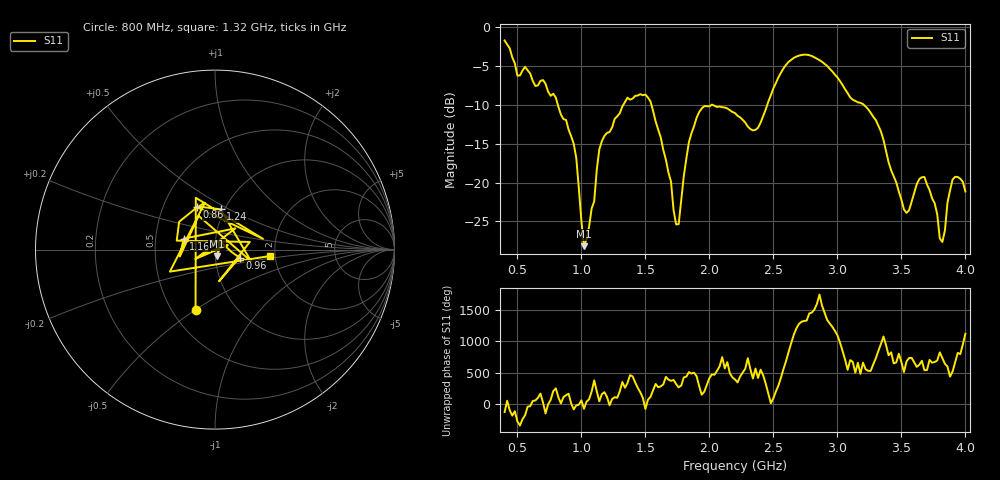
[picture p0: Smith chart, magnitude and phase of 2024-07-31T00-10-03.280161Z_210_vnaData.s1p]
!Created with skrf (http://scikit-rf.org).
# Hz S RI R 50.0
!freq ReS11 ImS11
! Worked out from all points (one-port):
!   181 points, 400 MHz to 4 GHz, reference 50 ohm
!   lowest |S11| = -28.2 dB at 1.02 GHz (marker M1), VSWR 1.08, Z = 51 - j3.82 ohm
!   |S11| at or under -10 dB: 816 MHz to 1.327 GHz (511.4 MHz wide, 47.7 % of centre); 1.547 GHz to 2.017 GHz (469.4 MHz wide, 26.3 % of centre); 3.207 GHz to end of sweep (the widest 3 of 4)
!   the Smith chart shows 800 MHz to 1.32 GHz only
!   S11 on the Smith chart (normalised r, x): 800 MHz: 0.65, -0.50; 860 MHz: 0.74, +0.37; 960 MHz: 1.31, -0.12; 1.16 GHz: 0.70, +0.09; 1.24 GHz: 0.96, +0.45; 1.32 GHz: 1.88, -0.15
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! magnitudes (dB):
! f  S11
! 400 MHz  -1.7
! 500 MHz  -6.2
! 560 MHz  -5.1
! 800 MHz  -9.1
! 860 MHz  -11.8
! 960 MHz  -16.8
! 1.02 GHz  -28.2
! 1.1 GHz  -22.4
! 1.16 GHz  -14.7
! 1.24 GHz  -12.9
! 1.3 GHz  -11.1
! 1.32 GHz  -10.2
! 1.54 GHz  -9.6
! 1.76 GHz  -25.3
! 1.84 GHz  -14.8
! 1.92 GHz  -10.9
! 2.2 GHz  -11.1
! 2.38 GHz  -12.9
! 2.66 GHz  -3.9
! 2.88 GHz  -4.5
! 3.1 GHz  -9.0
! 3.3 GHz  -11.9
! 3.52 GHz  -23.5
! 3.56 GHz  -23.6
! 3.68 GHz  -19.3
! 3.82 GHz  -27.7
! 3.9 GHz  -19.6
! 4 GHz  -21.2
